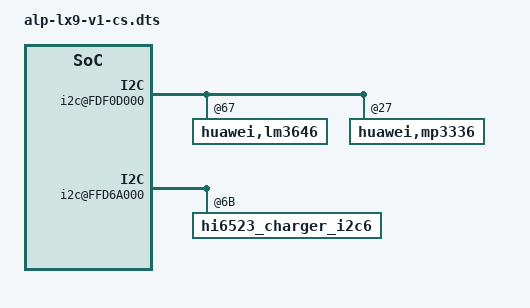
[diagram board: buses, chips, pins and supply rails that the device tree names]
/dts-v1/;

/include/ "../variants/alp-lx9.dtsi"

/ {
	hisi,boardid = <0x06 0x04 0x00 0x08>;
	hisi,boardname = "ALPS_LX9_V1_CS";
	hisi,modem_id = <0x39001800>;
	hisi,product_id = <0x39001800>;

	amba {
		i2c@FDF0D000 {
			huawei,lm3646@67 {
				huawei,led-type = <0x01>;
				huawei,flash-current = <0x7c 0x7f 0x00>;
			};

			huawei,mp3336@27 {
				huawei,led-type = <0x01>;
				huawei,flash-current = <0xbe 0xbe 0x00>;
			};
		};

		i2c@FFD6A000 {
			hi6523_charger_i2c6@6B {
				fcp_support = <0x01>;
				scp_support = <0x01>;
			};

			fsa9685_i2c6@25 {
				status = "disabled";
			};
		};
	};

	hisi_usb@ff200000 {
		set_hi_impedance = <0x00>;
	};

	sensorhub {
		gsensor {
			acc1 {
				negate_z = <0x00>;
			};
		};

		gyroscope {
			gyro1 {
				axis_map_x = <0x01>;
				axis_map_y = <0x00>;
				negate_z = <0x00>;
			};
		};
	};

	direct_charger {
		scp_work_on_charger = <0x01>;
	};

	devcheck {
		usb_switch = <0x00>;
	};
};
